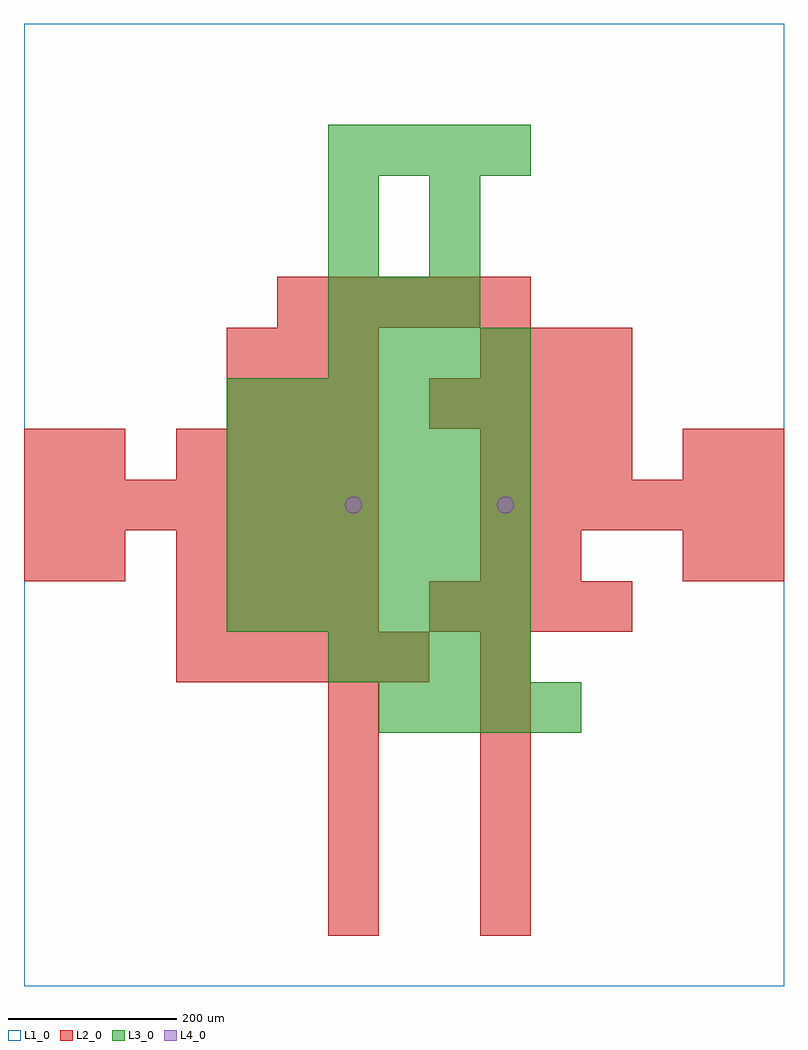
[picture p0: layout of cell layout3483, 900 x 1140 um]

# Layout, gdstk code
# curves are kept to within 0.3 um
import gdstk
lib = gdstk.Library(unit=1e-6, precision=1e-09)
def R(c, l, rs):  # rectangles x0, y0, x1, y1
    for r in rs: c.add(gdstk.rectangle(r[:2], r[2:], *l))
def A(c, l, x, y, w, h, nx, ny, dx, dy):  # array of equal rectangles
    R(c, l, [(x+i*dx, y+j*dy, x+i*dx+w, y+j*dy+h) for i in range(nx) for j in range(ny)])
def P(c, l, *ps):  # polygons
    for p in ps: c.add(gdstk.Polygon(p, *l))
L1_0 = (1, 0)
L2_0 = (2, 0)
L3_0 = (3, 0)
L4_0 = (4, 0)

layout3483 = lib.new_cell('layout3483')
R(layout3483, L1_0, [(0,0,900,1140)])
A(layout3483, L2_0, 360, 60, 60, 60, 1, 5, 0, 60)
A(layout3483, L2_0, 540, 60, 60, 60, 1, 6, 0, 60)
A(layout3483, L2_0, 180, 360, 60, 60, 5, 1, 60, 0)
A(layout3483, L2_0, 180, 420, 60, 60, 4, 2, 60, 60)
A(layout3483, L2_0, 480, 420, 60, 60, 4, 2, 60, 240)
A(layout3483, L2_0, 0, 540, 60, 60, 7, 1, 60, 0)
A(layout3483, L2_0, 540, 540, 60, 60, 6, 1, 60, 0)
A(layout3483, L2_0, 180, 600, 60, 60, 4, 1, 60, 0)
A(layout3483, L2_0, 540, 600, 60, 60, 3, 2, 60, 120)
A(layout3483, L2_0, 240, 660, 60, 60, 3, 2, 60, 60)
A(layout3483, L2_0, 300, 780, 60, 60, 5, 1, 60, 0)
R(layout3483, L2_0, [(0,480,60,540), (60,480,120,540), (540,480,600,540), (600,480,660,540), (780,480,840,540), (840,480,900,540), (0,600,60,660), (60,600,120,660), (780,600,840,660), (840,600,900,660)])
A(layout3483, L3_0, 420, 300, 60, 60, 4, 1, 60, 0)
A(layout3483, L3_0, 360, 360, 60, 60, 4, 2, 60, 360)
A(layout3483, L3_0, 240, 420, 60, 60, 6, 5, 60, 60)
A(layout3483, L3_0, 360, 780, 60, 60, 3, 1, 60, 0)
A(layout3483, L3_0, 360, 960, 60, 60, 4, 1, 60, 0)
R(layout3483, L3_0, [(360,840,420,900), (480,840,540,900), (360,900,420,960), (480,900,540,960)])
P(layout3483, L4_0, [(400,570),(399.239,573.827),(397.071,577.071),(393.827,579.239),(390,580),(386.173,579.239),(382.929,577.071),(380.761,573.827),(380,570),(380.761,566.173),(382.929,562.929),(386.173,560.761),(390,560),(393.827,560.761),(397.071,562.929),(399.239,566.173)],
  [(580,570),(579.239,573.827),(577.071,577.071),(573.827,579.239),(570,580),(566.173,579.239),(562.929,577.071),(560.761,573.827),(560,570),(560.761,566.173),(562.929,562.929),(566.173,560.761),(570,560),(573.827,560.761),(577.071,562.929),(579.239,566.173)])

lib.write_gds('layout3483.gds')
